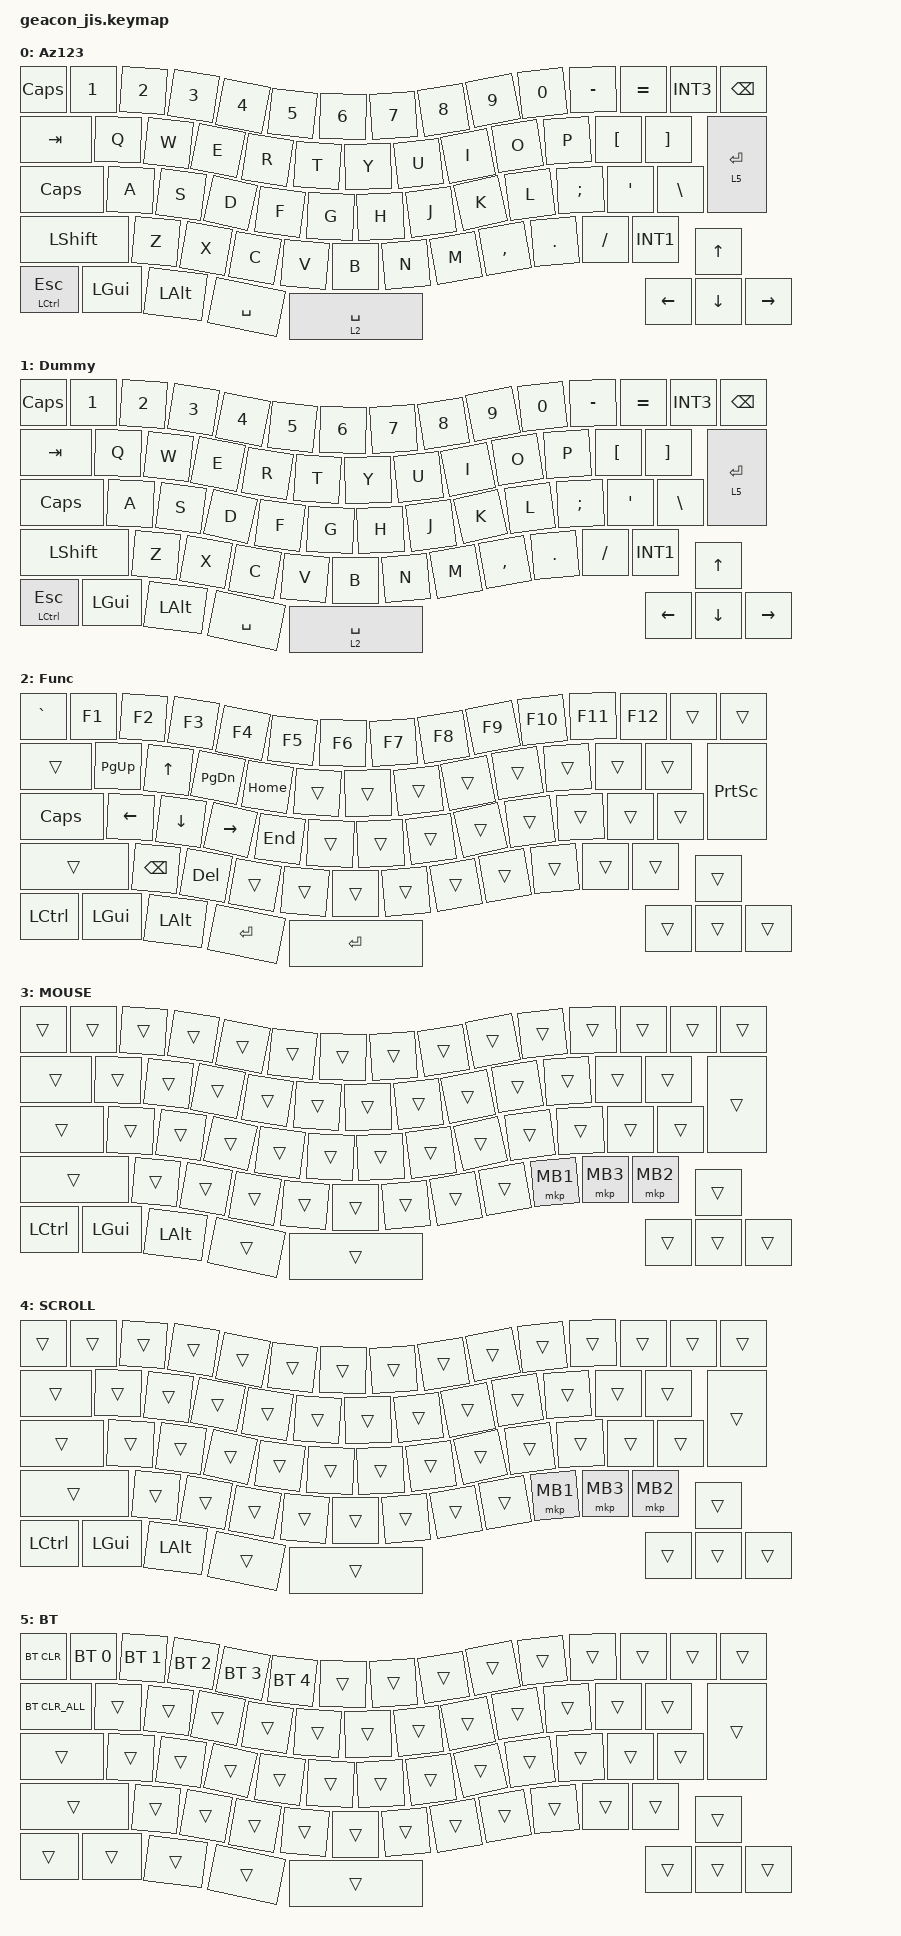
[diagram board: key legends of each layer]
#include <behaviors.dtsi>
#include <dt-bindings/zmk/keys.h>
#include <dt-bindings/zmk/pointing.h>
#include <dt-bindings/zmk/bt.h>
#include <physical_layouts.dtsi>

#define MOUSE 2
#define SCROLL 3
#define BT 4

&mt {
   flavor = "tap-preferred";
   quick_tap_ms = <125>;
   tapping_term_ms = <250>;
};
 
/ {
  chosen {
    zmk,physical-layout = &layout_JIS;
  };

  layout_JIS: layout_JIS {
      compatible = "zmk,physical-layout";
      display-name = "Default";
      transform = <&default_transform>;
      kscan = <&kscan0>;

      keys  //                     w   h    x    y     rot    rx    ry
          = <&key_physical_attrs 100 100    0    0       0     0     0>
          , <&key_physical_attrs 100 100  100    0       0     0     0>
          , <&key_physical_attrs 100 100  201    2     375   251    52>
          , <&key_physical_attrs 100 100  301   13     875   351    63>
          , <&key_physical_attrs 100 100  400   33    1125   450    83>
          , <&key_physical_attrs 100 100  499   48     625   549    98>
          , <&key_physical_attrs 100 100  600   54     125   650   104>
          , <&key_physical_attrs 100 100  701   52  (-375)   751   102>
          , <&key_physical_attrs 100 100  801   41  (-875)   851    91>
          , <&key_physical_attrs 100 100  900   22 (-1125)   950    72>
          , <&key_physical_attrs 100 100  999    7  (-625)  1049    57>
          , <&key_physical_attrs 100 100 1100    0  (-125)  1150    50>
          , <&key_physical_attrs 100 100 1200    0       0     0     0>
          , <&key_physical_attrs 100 100 1300    0       0     0     0>
          , <&key_physical_attrs 100 100 1400    0       0     0     0>
          , <&key_physical_attrs 150 100    0  100       0     0     0>
          , <&key_physical_attrs 100 100  150  100     125   200   150>
          , <&key_physical_attrs 100 100  251  107     625   301   157>
          , <&key_physical_attrs 100 100  350  122    1125   400   172>
          , <&key_physical_attrs 100 100  449  141     875   499   191>
          , <&key_physical_attrs 100 100  549  152     375   599   202>
          , <&key_physical_attrs 100 100  650  154  (-125)   700   204>
          , <&key_physical_attrs 100 100  751  148  (-625)   801   198>
          , <&key_physical_attrs 100 100  850  133 (-1125)   900   183>
          , <&key_physical_attrs 100 100  949  113  (-875)   999   163>
          , <&key_physical_attrs 100 100 1049  102  (-375)  1099   152>
          , <&key_physical_attrs 100 100 1150  100       0     0     0>
          , <&key_physical_attrs 100 100 1250  100       0     0     0>
          , <&key_physical_attrs 125 200 1375  100       0     0     0>
          , <&key_physical_attrs 175 100    0  200       0     0     0>
          , <&key_physical_attrs 100 100  175  201     250   225   251>
          , <&key_physical_attrs 100 100  276  210     750   326   260>
          , <&key_physical_attrs 100 100  375  227    1250   425   277>
          , <&key_physical_attrs 100 100  474  245     750   524   295>
          , <&key_physical_attrs 100 100  575  254     250   625   304>
          , <&key_physical_attrs 100 100  675  254  (-250)   725   304>
          , <&key_physical_attrs 100 100  776  245  (-750)   826   295>
          , <&key_physical_attrs 100 100  875  227 (-1250)   925   277>
          , <&key_physical_attrs 100 100  974  210  (-750)  1024   260>
          , <&key_physical_attrs 100 100 1075  201  (-250)  1125   251>
          , <&key_physical_attrs 100 100 1175  200       0     0     0>
          , <&key_physical_attrs 100 100 1275  200       0     0     0>
          , <&key_physical_attrs 225 100    0  300       0     0     0>
          , <&key_physical_attrs 100 100  226  304     500   276   354>
          , <&key_physical_attrs 100 100  326  318    1000   376   368>
          , <&key_physical_attrs 100 100  424  337    1000   474   387>
          , <&key_physical_attrs 100 100  524  350     500   574   400>
          , <&key_physical_attrs 100 100  625  355       0     0     0>
          , <&key_physical_attrs 100 100  726  350  (-500)   776   400>
          , <&key_physical_attrs 100 100  826  337 (-1000)   876   387>
          , <&key_physical_attrs 100 100  924  318 (-1000)   974   368>
          , <&key_physical_attrs 100 100 1024  304  (-500)  1074   354>
          , <&key_physical_attrs 100 100 1125  300       0     0     0>
          , <&key_physical_attrs 100 100 1225  300       0     0     0>
          , <&key_physical_attrs 100 100 1350  325       0     0     0>
          , <&key_physical_attrs 125 100    0  400       0     0     0>
          , <&key_physical_attrs 125 100  125  400       0     0     0>
          , <&key_physical_attrs 125 100  253  409     700   316   459>
          , <&key_physical_attrs 150 100  382  435    1195   457   485>
          , <&key_physical_attrs 275 100  538  454       0     0     0>
          , <&key_physical_attrs 100 100 1250  425       0     0     0>
          , <&key_physical_attrs 100 100 1350  425       0     0     0>
          , <&key_physical_attrs 100 100 1450  425       0     0     0>
          ;
    };

   keymap {
       compatible = "zmk,keymap";
       default_layer {
           label = "Az123";
           bindings = <
&kp CAPS  &kp N1    &kp N2     &kp N3     &kp N4     &kp N5       &kp N6    &kp N7     &kp N8     &kp N9     &kp N0    &kp MINUS   &kp EQUAL   &kp INT3 &kp BKSP
&kp TAB   &kp Q     &kp W      &kp E      &kp R      &kp T        &kp Y     &kp U      &kp I      &kp O      &kp P     &kp LBKT    &kp RBKT        &lt 5 ENTER
&kp CAPS  &kp A     &kp S      &kp D      &kp F      &kp G        &kp H     &kp J      &kp K      &kp L      &kp SEMI  &kp SQT     &kp BSLH        
&kp LSHFT &kp Z     &kp X      &kp C      &kp V      &kp B        &kp N     &kp M      &kp COMMA  &kp DOT    &kp FSLH  &kp INT1                    &kp UP
&mt LCTL ESC  &kp LGUI   &kp LALT      &kp SPACE     &lt 2 SPACE                                                                          &kp LEFT &kp DOWN &kp RIGHT
>;
       };

        dummy_layer {
           label = "Dummy";
           bindings = <
&kp CAPS  &kp N1    &kp N2     &kp N3     &kp N4     &kp N5       &kp N6    &kp N7     &kp N8     &kp N9     &kp N0    &kp MINUS   &kp EQUAL   &kp INT3 &kp BKSP
&kp TAB   &kp Q     &kp W      &kp E      &kp R      &kp T        &kp Y     &kp U      &kp I      &kp O      &kp P     &kp LBKT    &kp RBKT        &lt 5 ENTER
&kp CAPS  &kp A     &kp S      &kp D      &kp F      &kp G        &kp H     &kp J      &kp K      &kp L      &kp SEMI  &kp SQT     &kp BSLH        
&kp LSHFT &kp Z     &kp X      &kp C      &kp V      &kp B        &kp N     &kp M      &kp COMMA  &kp DOT    &kp FSLH  &kp INT1                    &kp UP
&mt LCTL ESC  &kp LGUI   &kp LALT      &kp SPACE     &lt 2 SPACE                                                                          &kp LEFT &kp DOWN &kp RIGHT
>;
       };

       function_layer {
           label = "Func";
           bindings = <
&kp GRAVE &kp F1    &kp F2     &kp F3     &kp F4     &kp F5       &kp F6    &kp F7     &kp F8     &kp F9     &kp F10   &kp F11     &kp F12     &trans &trans
&trans    &kp PG_UP &kp UP     &kp PG_DN  &kp HOME   &trans       &trans    &trans     &trans     &trans     &trans    &trans      &trans          &kp PSCRN
&kp CAPS  &kp LEFT  &kp DOWN   &kp RIGHT  &kp END    &trans       &trans    &trans     &trans     &trans     &trans    &trans      &trans
&trans    &kp BKSP  &kp DEL    &trans     &trans     &trans       &trans    &trans     &trans     &trans     &trans    &trans                      &trans
&kp LCTL   &kp LGUI   &kp LALT         &kp ENTER     &kp ENTER                                                                            &trans   &trans   &trans
>;
       };

       mouse_layer {
           display-name = "MOUSE";    
           label = "MOUSE";
           bindings = <
&trans    &trans    &trans     &trans     &trans     &trans       &trans    &trans     &trans     &trans     &trans    &trans      &trans      &trans &trans
&trans    &trans    &trans     &trans     &trans     &trans       &trans    &trans     &trans     &trans     &trans    &trans      &trans          &trans
&trans    &trans    &trans     &trans     &trans     &trans       &trans    &trans     &trans     &trans     &trans    &trans      &trans
&trans    &trans    &trans     &trans     &trans     &trans       &trans    &trans     &trans     &mkp MB1   &mkp MB3  &mkp MB2                    &trans
&kp LCTL   &kp LGUI   &kp LALT            &trans     &trans                                                                               &trans   &trans   &trans
>;
       };

       scroll_layer {
           display-name = "SCROLL";    
           label = "SCROLL";
           bindings = <
&trans    &trans    &trans     &trans     &trans     &trans       &trans    &trans     &trans     &trans     &trans    &trans      &trans      &trans &trans
&trans    &trans    &trans     &trans     &trans     &trans       &trans    &trans     &trans     &trans     &trans    &trans      &trans          &trans
&trans    &trans    &trans     &trans     &trans     &trans       &trans    &trans     &trans     &trans     &trans    &trans      &trans
&trans    &trans    &trans     &trans     &trans     &trans       &trans    &trans     &trans     &mkp MB1   &mkp MB3  &mkp MB2                    &trans
&kp LCTL   &kp LGUI   &kp LALT            &trans     &trans                                                                               &trans   &trans   &trans
>;
       };

        bt_layer {
           display-name = "BT";    
           label = "BT";
           bindings = <
&bt BT_CLR     &bt BT_SEL 0 &bt BT_SEL 1 &bt BT_SEL 2 &bt BT_SEL 3 &bt BT_SEL 4  &trans  &trans  &trans  &trans  &trans  &trans  &trans         &trans &trans 
&bt BT_CLR_ALL &trans       &trans       &trans       &trans       &trans        &trans  &trans  &trans  &trans  &trans  &trans  &trans              &trans
&trans         &trans       &trans       &trans       &trans       &trans        &trans  &trans  &trans  &trans  &trans  &trans  &trans
&trans         &trans       &trans       &trans       &trans       &trans        &trans  &trans  &trans  &trans  &trans  &trans                      &trans
&trans         &trans       &trans       &trans       &trans                                                                                &trans   &trans   &trans
>;
    };
  };
};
